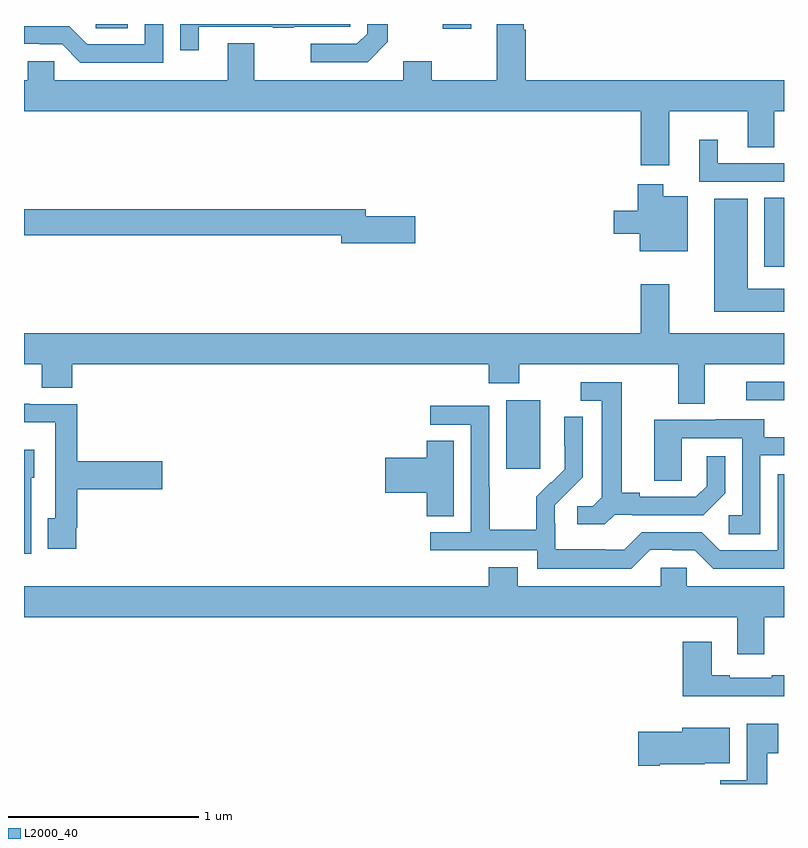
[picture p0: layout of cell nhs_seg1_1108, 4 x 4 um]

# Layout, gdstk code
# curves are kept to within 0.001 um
import gdstk
lib = gdstk.Library(unit=1e-6, precision=1e-09)
def R(c, l, rs):  # rectangles x0, y0, x1, y1
    for r in rs: c.add(gdstk.rectangle(r[:2], r[2:], *l))
def P(c, l, *ps):  # polygons
    for p in ps: c.add(gdstk.Polygon(p, *l))
L2000_40 = (2000, 40)

nhs_seg1_1108 = lib.new_cell('nhs_seg1_1108')
R(nhs_seg1_1108, L2000_40, [(173.537,541.857,173.716,542.218), (174.801,542.22,175,542.316), (174.896,542.922,175,543.284), (173.205,544.173,173.353,544.199), (171.378,544.177,171.546,544.199)])
P(nhs_seg1_1108, L2000_40, [(172.915,544.105),(172.915,544.199),(172.806,544.199),(172.806,544.149),(172.752,544.095),(172.509,544.095),(172.509,543.999),(172.809,543.999)],
  [(174.397,543.74),(174.809,543.74),(174.809,543.55),(174.949,543.55),(174.949,543.74),(175,543.74),(175,543.904),(173.642,543.904),(173.642,544.169),(173.629,544.169),(173.629,544.199),(173.489,544.199),(173.489,543.904),(173.145,543.904),(173.145,544.003),(172.997,544.003),(172.997,543.904),(172.213,543.904),(172.213,544.099),(172.073,544.099),(172.073,543.904),(171.159,543.904),(171.159,544.002),(171.021,544.002),(171.021,543.904),(171,543.904),(171,543.74),(174.245,543.74),(174.245,543.456),(174.397,543.456)],
  [(171.732,544.199),(171.636,544.199),(171.636,544.092),(171.333,544.092),(171.237,544.188),(171,544.188),(171,544.095),(171.083,544.095),(171.083,544.092),(171.201,544.092),(171.297,543.996),(171.732,543.996)],
  [(171.919,544.185),(172.309,544.185),(172.309,544.18),(172.421,544.18),(172.421,544.185),(172.716,544.185),(172.716,544.199),(171.823,544.199),(171.823,544.062),(171.919,544.062)],
  [(175,543.465),(174.652,543.465),(174.652,543.589),(174.554,543.589),(174.554,543.369),(175,543.369)],
  [(174.493,543.292),(174.364,543.292),(174.364,543.355),(174.23,543.355),(174.23,543.217),(174.105,543.217),(174.105,543.095),(174.242,543.095),(174.242,543.002),(174.493,543.002)],
  [(175,542.806),(174.808,542.806),(174.808,543.28),(174.632,543.28),(174.632,542.684),(175,542.684)],
  [(173.059,543.188),(172.798,543.188),(172.798,543.224),(171,543.224),(171,543.088),(172.67,543.088),(172.67,543.046),(173.059,543.046)],
  [(174.583,542.408),(175,542.408),(175,542.572),(174.397,542.572),(174.397,542.83),(174.245,542.83),(174.245,542.572),(171,542.572),(171,542.408),(171.094,542.408),(171.094,542.284),(171.254,542.284),(171.254,542.408),(173.447,542.408),(173.447,542.309),(173.607,542.309),(173.607,542.408),(174.443,542.408),(174.443,542.2),(174.583,542.2)],
  [(174.108,541.617),(174.202,541.617),(174.202,541.614),(174.574,541.614),(174.69,541.73),(174.69,541.924),(174.593,541.924),(174.593,541.767),(174.536,541.71),(174.241,541.71),(174.241,541.733),(174.145,541.733),(174.145,542.313),(173.931,542.313),(173.931,542.217),(174.041,542.217),(174.041,541.709),(173.994,541.662),(173.913,541.662),(173.913,541.565),(174.056,541.565)],
  [(171.274,541.549),(171.281,541.549),(171.281,541.751),(171.727,541.751),(171.727,541.898),(171.281,541.898),(171.281,542.199),(171.031,542.199),(171.031,542.201),(171,542.201),(171,542.102),(171.165,542.102),(171.165,541.598),(171.125,541.598),(171.125,541.437),(171.274,541.437)],
  [(174.297,541.431),(174.413,541.431),(174.413,541.428),(174.531,541.428),(174.627,541.332),(175,541.332),(175,541.83),(174.966,541.83),(174.966,541.428),(174.663,541.428),(174.567,541.524),(174.252,541.524),(174.159,541.431),(174.059,541.431),(174.059,541.435),(173.796,541.435),(173.796,541.569),(173.794,541.569),(173.794,541.666),(173.94,541.814),(173.94,542.132),(173.844,542.132),(173.844,541.978),(173.846,541.978),(173.846,541.856),(173.775,541.785),(173.772,541.788),(173.695,541.711),(173.695,541.537),(173.451,541.537),(173.451,541.76),(173.448,541.76),(173.448,542.19),(173.139,542.19),(173.139,542.091),(173.352,542.091),(173.352,541.524),(173.139,541.524),(173.139,541.428),(173.7,541.428),(173.7,541.331),(174.197,541.331)],
  [(174.876,541.929),(175,541.929),(175,542.025),(174.895,542.025),(174.895,542.119),(174.641,542.119),(174.641,542.115),(174.317,542.115),(174.317,541.795),(174.462,541.795),(174.462,542.019),(174.78,542.019),(174.78,541.614),(174.708,541.614),(174.708,541.513),(174.876,541.513)],
  [(173.263,542.006),(173.12,542.006),(173.12,541.916),(172.902,541.916),(172.902,541.733),(173.12,541.733),(173.12,541.609),(173.263,541.609)],
  [(171.037,541.812),(171.055,541.812),(171.055,541.957),(171,541.957),(171,541.412),(171.037,541.412)],
  [(174.895,541.076),(175,541.076),(175,541.24),(174.489,541.24),(174.489,541.338),(174.351,541.338),(174.351,541.24),(173.599,541.24),(173.599,541.339),(173.447,541.339),(173.447,541.24),(171,541.24),(171,541.076),(174.755,541.076),(174.755,540.882),(174.895,540.882)],
  [(175,540.772),(174.935,540.772),(174.935,540.759),(174.715,540.759),(174.715,540.772),(174.619,540.772),(174.619,540.949),(174.467,540.949),(174.467,540.662),(175,540.662)],
  [(174.913,540.361),(174.97,540.361),(174.97,540.517),(174.803,540.517),(174.803,540.22),(174.664,540.22),(174.664,540.199),(174.913,540.199)],
  [(174.346,540.302),(174.582,540.302),(174.582,540.308),(174.715,540.308),(174.715,540.496),(174.464,540.496),(174.464,540.473),(174.234,540.473),(174.234,540.295),(174.346,540.295)])

lib.write_gds('nhs_seg1_1108.gds')
